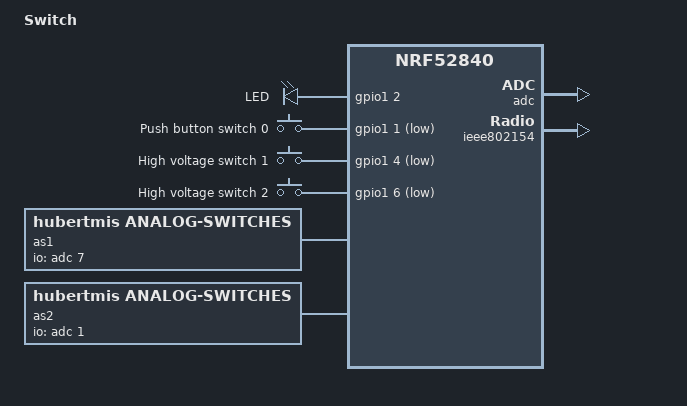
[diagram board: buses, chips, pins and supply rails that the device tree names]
/*
 * Copyright (c) 2022 Hubert Miś
 *
 * SPDX-License-Identifier: Apache-2.0
 */

/dts-v1/;
#include <nordic/nrf52840_qiaa.dtsi>

/ {
	model = "Switch";
	compatible = "hubertmis,switch";

	chosen {
		zephyr,sram = &sram0;
		zephyr,flash = &flash0;
		zephyr,code-partition = &slot0_partition;
		zephyr,ieee802154 = &ieee802154;
	};

    leds {
        compatible = "gpio-leds";
        led: led_0 {
            gpios = <&gpio1 2 GPIO_ACTIVE_HIGH>;
            label = "LED";
        };
    };

    buttons {
        compatible = "gpio-keys";
        button0: button_0 {
            gpios = <&gpio1 1 (GPIO_PULL_UP | GPIO_ACTIVE_LOW)>;
            label = "Push button switch 0";
        };
        sw1: button_1 {
            gpios = <&gpio1 4 (GPIO_ACTIVE_LOW)>;
            label = "High voltage switch 1";
        };
        sw2: button_2 {
            gpios = <&gpio1 6 (GPIO_ACTIVE_LOW)>;
            label = "High voltage switch 2";
        };
    };

    as1: analog_switch1 {
        compatible = "hubertmis,analog-switches";
        io-channels = <&adc 7>;
        status = "okay";
    };
    as2: analog_switch2 {
        compatible = "hubertmis,analog-switches";
        io-channels = <&adc 1>;
        status = "okay";
    };

    /*
    * In some default configurations within the nRF Connect SDK,
    * e.g. on nRF52840, the chosen zephyr,entropy node is &cryptocell.
    * This devicetree overlay ensures that default is overridden wherever it
    * is set, as this application uses the RNG node for entropy exclusively.
    */
    chosen {
        zephyr,entropy = &rng;
    };

    /* These aliases are provided for compatibility with samples */
/*
    aliases {
        red-pwm-led = &red_pwm_led;
        green-pwm-led = &green_pwm_led;
        blue-pwm-led = &blue_pwm_led;
        white-pwm-led = &white_pwm_led;
    };
*/
};

&adc {
	status = "okay";
};

&gpiote {
	status = "okay";
};

&gpio0 {
	status = "okay";
};

&gpio1 {
	status = "okay";
};

&ieee802154 {
	status = "okay";
};

&uicr {
	nfct-pins-as-gpios;
};

&flash0 {

	partitions {
		compatible = "fixed-partitions";
		#address-cells = <1>;
		#size-cells = <1>;

		boot_partition: partition@0 {
			label = "mcuboot";
			reg = <0x000000000 0x0000C000>;
		};
		slot0_partition: partition@c000 {
			label = "image-0";
			reg = <0x0000C000 0x00079000>;
		};
		slot1_partition: partition@85000 {
			label = "image-1";
			reg = <0x00085000 0x00079000>;
		};

		storage_partition: partition@fe000 {
			label = "storage";
			reg = <0x000fe000 0x00002000>;
		};
	};
};
